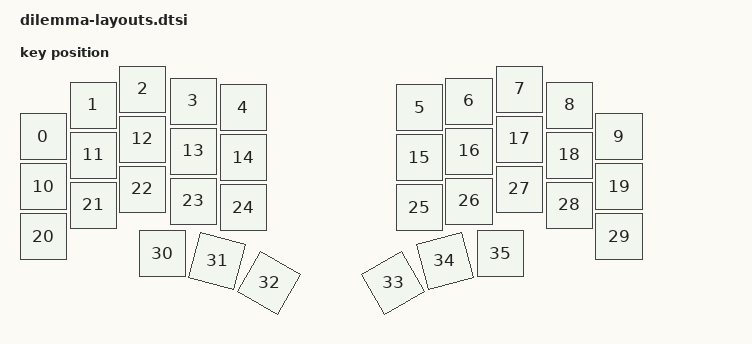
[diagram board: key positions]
#include <physical_layouts.dtsi>

/ {
    default_layout: default_layout {
        compatible = "zmk,physical-layout";
        display-name = "Default Layout";
        kscan = <&kscan0>;
        transform = <&default_transform>;

        keys  //                     w   h    x    y     rot    rx    ry
            = <&key_physical_attrs 100 100    0   95       0     0     0>
            , <&key_physical_attrs 100 100  100   32       0     0     0>
            , <&key_physical_attrs 100 100  199    0       0     0     0>
            , <&key_physical_attrs 100 100  300   24       0     0     0>
            , <&key_physical_attrs 100 100  400   37       0     0     0>
            , <&key_physical_attrs 100 100  753   37       0     0     0>
            , <&key_physical_attrs 100 100  852   24       0     0     0>
            , <&key_physical_attrs 100 100  953    0       0     0     0>
            , <&key_physical_attrs 100 100 1053   32       0     0     0>
            , <&key_physical_attrs 100 100 1152   95       0     0     0>
            , <&key_physical_attrs 100 100    0  195       0     0     0>
            , <&key_physical_attrs 100 100  100  132       0     0     0>
            , <&key_physical_attrs 100 100  199  100       0     0     0>
            , <&key_physical_attrs 100 100  300  124       0     0     0>
            , <&key_physical_attrs 100 100  400  137       0     0     0>
            , <&key_physical_attrs 100 100  753  137       0     0     0>
            , <&key_physical_attrs 100 100  852  124       0     0     0>
            , <&key_physical_attrs 100 100  953  100       0     0     0>
            , <&key_physical_attrs 100 100 1053  132       0     0     0>
            , <&key_physical_attrs 100 100 1152  195       0     0     0>
            , <&key_physical_attrs 100 100    0  295       0     0     0>
            , <&key_physical_attrs 100 100  100  232       0     0     0>
            , <&key_physical_attrs 100 100  199  200       0     0     0>
            , <&key_physical_attrs 100 100  300  224       0     0     0>
            , <&key_physical_attrs 100 100  400  237       0     0     0>
            , <&key_physical_attrs 100 100  753  237       0     0     0>
            , <&key_physical_attrs 100 100  852  224       0     0     0>
            , <&key_physical_attrs 100 100  953  200       0     0     0>
            , <&key_physical_attrs 100 100 1053  232       0     0     0>
            , <&key_physical_attrs 100 100 1152  295       0     0     0>
            , <&key_physical_attrs 100 100  238  329       0     0     0>
            , <&key_physical_attrs 100 100  348  344    1500   398   394>
            , <&key_physical_attrs 100 100  452  388    3000   502   438>
            , <&key_physical_attrs 100 100  700  388 (-3000)   750   438>
            , <&key_physical_attrs 100 100  804  344 (-1500)   854   394>
            , <&key_physical_attrs 100 100  914  329       0     0     0>
            ;
    };
};
